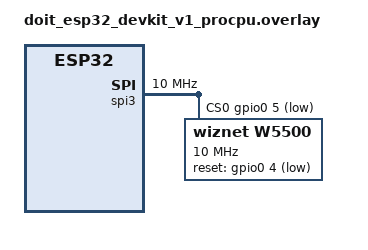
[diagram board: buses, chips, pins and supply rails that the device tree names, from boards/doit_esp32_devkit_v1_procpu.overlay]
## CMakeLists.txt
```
# SPDX-License-Identifier: Apache-2.0

cmake_minimum_required(VERSION 3.20.0)

find_package(Zephyr REQUIRED HINTS $ENV{ZEPHYR_BASE})
project(test_ethernet)

target_sources(app PRIVATE src/main.c)
```

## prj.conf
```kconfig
# NET
CONFIG_NETWORKING=y
CONFIG_NET_IPV4=y
CONFIG_NET_DHCPV4=y
CONFIG_NET_TCP=y
CONFIG_NET_SOCKETS=y
CONFIG_NET_HOSTNAME_ENABLE=y
CONFIG_NET_L2_ETHERNET=y
CONFIG_NET_L2_ETHERNET_MGMT=y
CONFIG_NET_IF_MAX_IPV4_COUNT=1

# DNS
CONFIG_DNS_RESOLVER=y
CONFIG_DNS_RESOLVER_ADDITIONAL_BUF_CTR=2
CONFIG_DNS_RESOLVER_ADDITIONAL_QUERIES=1
CONFIG_DNS_SERVER_IP_ADDRESSES=y
CONFIG_DNS_SERVER1="8.8.8.8"
CONFIG_DNS_SERVER2="8.8.4.4"

# POSIX
CONFIG_POSIX_API=y

# HTTP Client
CONFIG_HTTP_CLIENT=y
CONFIG_HTTP_PARSER=y
CONFIG_HTTP_PARSER_URL=y

# MQTT
CONFIG_MQTT_LIB=y

# Logging
CONFIG_LOG=y
CONFIG_LOG_DEFAULT_LEVEL=3
CONFIG_LOG_BACKEND_SHOW_COLOR=y
CONFIG_LOG_MODE_IMMEDIATE=y
CONFIG_LOG_BACKEND_UART=y

# Threads
CONFIG_MAIN_STACK_SIZE=2048
CONFIG_SYSTEM_WORKQUEUE_STACK_SIZE=2048

# Ethernet
CONFIG_ETH_DRIVER=y

# Random
CONFIG_ENTROPY_GENERATOR=y
CONFIG_TEST_RANDOM_GENERATOR=y
```

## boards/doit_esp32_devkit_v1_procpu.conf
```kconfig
# ESP32
CONFIG_ESP32_USE_UNSUPPORTED_REVISION=y

# NET
CONFIG_NET_HOSTNAME="doit_esp32_devkit_v1"
CONFIG_NET_MGMT_EVENT_STACK_SIZE=1500
CONFIG_NET_TCP_WORKQ_STACK_SIZE=2048

# SYSTEM
CONFIG_SYSTEM_WORKQUEUE_STACK_SIZE=1500
```

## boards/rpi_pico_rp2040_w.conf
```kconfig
CONFIG_NET_HOSTNAME="rpi_pico_rp2040_w"
```

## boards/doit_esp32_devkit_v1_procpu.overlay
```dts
/* doit_esp32_devkit_v1/esp32/procpu */

&spi3 {
	pinctrl-0 = <&spim3_default>;
	pinctrl-names = "default";
	clock-frequency = <DT_FREQ_M(10)>;
	cs-gpios = <&gpio0 5 GPIO_ACTIVE_LOW>;

	ethernet0: enc28j60@0 {
		compatible = "microchip,enc28j60";
		label = "enc28j60";
		reg = <0x0>;
		spi-max-frequency = <DT_FREQ_M(10)>;
		int-gpios = <&gpio0 21 (GPIO_PULL_UP | GPIO_ACTIVE_LOW)>;
		local-mac-address = [00 00 00 01 02 03];
		status = "disabled";
	};

	ethernet1: w5500@1 {
		compatible = "wiznet,w5500";
		label = "w5500";
		reg = <0x0>;
		spi-max-frequency = <DT_FREQ_M(10)>;
		// int-gpios = <&gpio0 21 (GPIO_PULL_UP | GPIO_ACTIVE_LOW)>;
		reset-gpios = <&gpio0 4 (GPIO_PULL_UP | GPIO_ACTIVE_LOW)>;
		local-mac-address = [00 00 00 01 02 03];
		status = "okay";
	};
};
```

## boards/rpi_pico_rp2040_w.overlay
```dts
/* rpi_pico/rp2040/w */

&spi0 {
    pinctrl-0 = <&spi0_default>;
	pinctrl-names = "default";
    clock-frequency = <DT_FREQ_M(10)>;
	cs-gpios = <&gpio0 17 GPIO_ACTIVE_LOW>;
    status = "okay";

    ethernet0: w5500@0 {
		compatible = "wiznet,w5500";
		label = "w5500";
		reg = <0x0>;
		spi-max-frequency = <DT_FREQ_M(10)>;
		int-gpios = <&gpio0 20 GPIO_ACTIVE_LOW>;
		reset-gpios = <&gpio0 21 GPIO_ACTIVE_LOW>;
		local-mac-address = [02 00 00 01 02 03];
		status = "okay";
	};

	ethernet1: enc28j60@1 {
		compatible = "microchip,enc28j60";
		label = "enc28j60";
		reg = <0x0>;
		spi-max-frequency = <DT_FREQ_M(10)>;
		int-gpios = <&gpio0 20 GPIO_ACTIVE_LOW>;
		local-mac-address = [02 00 00 01 02 03];
		status = "disabled";
	};
};
```

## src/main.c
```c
/*
 * Zephyr Ethernet Stress Test
 *
 * Performs HTTP GET requests and MQTT operations (publish/subscribe)
 * in separate threads to stress the Ethernet connection.
 *
 * SPDX-License-Identifier: Apache-2.0
 */

#include <zephyr/kernel.h>
#include <zephyr/logging/log.h>
#include <zephyr/posix/poll.h>
#include <zephyr/net/net_if.h>
#include <zephyr/net/net_mgmt.h>
#include <zephyr/net/ethernet_mgmt.h>
#include <zephyr/net/net_event.h>
#include <zephyr/net/dhcpv4.h>
#include <zephyr/net/socket.h>
#include <zephyr/net/http/client.h>
#include <zephyr/net/mqtt.h>
#include <zephyr/net/net_ip.h>
#include <zephyr/random/random.h>
#include <zephyr/drivers/hwinfo.h>
#include <string.h>
#include <errno.h>

LOG_MODULE_REGISTER(eth_stress, LOG_LEVEL_INF);

/* ========================================================================== */
/*  Configuration                                                             */
/* ========================================================================== */

/* Target HTTP server (e.g., a local or public web server) */
#define HTTP_SERVER_HOST   "viacep.com.br"   /* Replace with the HTTP server IP */
#define HTTP_SERVER_PORT   80
#define HTTP_PATH          "/ws/01001000/json/"

/* MQTT broker */
#define MQTT_BROKER_HOST   "broker.emqx.io"   /* Replace with the MQTT broker IP */
#define MQTT_BROKER_PORT   1883
#define MQTT_TOPIC_SUB     "stress/test"
#define MQTT_TOPIC_PUB     "stress/data"
#define MQTT_PUB_INTERVAL  1000   /* ms between publishes */
#define MQTT_SUB_INTERVAL  2000   /* ms between message checks */

/* Interval between HTTP requests (ms) */
#define HTTP_INTERVAL      3000

/* Buffer sizes */
#define HTTP_RECV_BUF_SIZE 512
#define MQTT_RX_BUF_SIZE   4096
#define MQTT_TX_BUF_SIZE   512
#define MQTT_MSGQ_DEPTH     8

enum mqtt_internal_evt {
    MQTT_INTERNAL_EVT_PUBLISH,
    MQTT_INTERNAL_EVT_PUBREC,
    MQTT_INTERNAL_EVT_LEN,
};

struct mqtt_internal_msg {
    enum mqtt_internal_evt type;
    struct mqtt_evt evt;
};

/* ========================================================================== */
/*  Global Variables                                                          */
/* ========================================================================== */

static K_SEM_DEFINE(net_ready, 0, 1);
static K_MUTEX_DEFINE(mqtt_mutex);
static struct net_mgmt_event_callback net_mgmt_cb;
static struct net_mgmt_event_callback ethernet_mgmt_cb;

static struct mqtt_client mqtt_client;
static struct sockaddr_storage mqtt_broker;
static uint8_t mqtt_rx_buffer[MQTT_RX_BUF_SIZE];
static uint8_t mqtt_tx_buffer[MQTT_TX_BUF_SIZE];
static bool mqtt_connected = false;
static char mqtt_client_id[64];
static struct mqtt_internal_msg mqtt_msgq_buf[MQTT_MSGQ_DEPTH];
static struct k_msgq mqtt_msgq;
static uint8_t mqtt_discard_buf[128];

/* ========================================================================== */
/*  Network event callback                                                    */
/* ========================================================================== */

static void net_event_handler(struct net_mgmt_event_callback *cb,
                              uint64_t mgmt_event,
                              struct net_if *iface)
{
    switch (mgmt_event) {
        case NET_EVENT_IPV4_ADDR_ADD:
            char addr_str[NET_IPV4_ADDR_LEN];
            const struct in_addr *addr =
                &iface->config.ip.ipv4->unicast[0].ipv4.address.in_addr;

            net_addr_ntop(NET_AF_INET, addr, addr_str, sizeof(addr_str));
            LOG_INF("IPv4 address obtained: %s", addr_str);

            k_sem_reset(&net_ready);
        break;

        case NET_EVENT_IPV4_ADDR_DEL:
            net_dhcpv4_restart(iface);
        break;

        default:
        break;
    }
}

static void ethernet_event_handler(struct net_mgmt_event_callback *cb,
                              uint64_t mgmt_event,
                              struct net_if *iface)
{
    switch (mgmt_event) {
        case NET_EVENT_ETHERNET_CARRIER_ON:
            LOG_INF("Ethernet carrier ON (cable connected)");

            net_dhcpv4_restart(iface);
        break;

        case NET_EVENT_ETHERNET_CARRIER_OFF:
            LOG_WRN("Ethernet carrier OFF (cable disconnected)");
        break;
    }
}

static int http_response_cb(struct http_response *rsp,
                            enum http_final_call final_data,
                            void *user_data)
{
    ARG_UNUSED(user_data);

    if (final_data == HTTP_DATA_MORE) {
        LOG_INF("HTTP: partial data received (%zd bytes)", rsp->data_len);
    } else if (final_data == HTTP_DATA_FINAL) {
        LOG_INF(
            "HTTP: full response (%zd bytes), status: %s",
            rsp->data_len, rsp->http_status
        );
    }

    /* Optional: print the response body */
    if (rsp->body_frag_start != NULL && rsp->body_frag_len > 0) {
        LOG_INF(
            "HTTP: body: %.*s",
            rsp->body_frag_len, rsp->body_frag_start
        );
    }

    return 0;
}

/* ========================================================================== */
/*  HTTP Thread                                                               */
/* ========================================================================== */

static int http_get_once(void)
{
    int ret;
    int sock;
    struct sockaddr_in addr;
    uint8_t recv_buf[HTTP_RECV_BUF_SIZE];
    struct http_request req = { 0 };

    /* Create TCP socket */
    sock = zsock_socket(AF_INET, SOCK_STREAM, IPPROTO_TCP);
    if (sock < 0) {
        LOG_ERR("HTTP: failed to create socket (%d)", -errno);
        return -errno;
    }

    /* Fill in the server address */
    struct zsock_addrinfo hints = {
        .ai_family   = AF_INET,
        .ai_socktype = SOCK_STREAM,
        .ai_protocol = IPPROTO_TCP,
    };
    struct zsock_addrinfo *res = NULL;
    char port_str[6];
    snprintk(port_str, sizeof(port_str), "%d", HTTP_SERVER_PORT);

    ret = zsock_getaddrinfo(HTTP_SERVER_HOST, port_str, &hints, &res);
    if (ret != 0 || res == NULL) {
        LOG_ERR("HTTP: failed to resolve '%s' (%d)", HTTP_SERVER_HOST, ret);
        zsock_close(sock);
        return -EHOSTUNREACH;
    }

    /* Copy the resolved address */
    memcpy(&addr, res->ai_addr, sizeof(addr));
    zsock_freeaddrinfo(res);

    /* Connect */
    ret = zsock_connect(sock, (struct sockaddr *)&addr, sizeof(addr));
    if (ret < 0) {
        LOG_ERR("HTTP: connection failed (%d)", -errno);
        zsock_close(sock);
        return -errno;
    }

    /* Prepare the GET request */
    req.method = HTTP_GET;
    req.url = HTTP_PATH;
    req.host = HTTP_SERVER_HOST;
    req.protocol = "HTTP/1.1";
    req.recv_buf = recv_buf;
    req.recv_buf_len = sizeof(recv_buf);
    req.response = http_response_cb;

    /* Execute the request */
    ret = http_client_req(sock, &req, 5000, NULL);
    if (ret < 0) {
        LOG_ERR("HTTP: request failed (%d)", ret);
    } else {
        LOG_INF("HTTP: GET %s%s -> OK", HTTP_SERVER_HOST, HTTP_PATH);
    }

    zsock_close(sock);
    return ret;
}

void http_thread(void *p1, void *p2, void *p3)
{
    ARG_UNUSED(p1);
    ARG_UNUSED(p2);
    ARG_UNUSED(p3);

    /* Wait for the network to be ready */
    k_sem_take(&net_ready, K_FOREVER);
    LOG_INF("HTTP: thread started");

    while (1) {
        http_get_once();
        k_sleep(K_MSEC(HTTP_INTERVAL));
    }
}

K_THREAD_DEFINE(
    http_tid, 4096,
    http_thread, NULL, NULL, NULL,
    5, 0, 0
);

/* ========================================================================== */
/*  MQTT Thread                                                               */
/* ========================================================================== */

static void mqtt_work_publish(struct mqtt_client *client,
                              const struct mqtt_evt *evt)
{
    uint32_t len = evt->param.publish.message.payload.len;

    LOG_INF(
        "MQTT: message on '%.*s' (%u bytes)",
        evt->param.publish.message.topic.topic.size,
        evt->param.publish.message.topic.topic.utf8,
        len
    );

    uint32_t remaining = len;
    while (remaining > 0) {
        int n = mqtt_read_publish_payload(client, mqtt_discard_buf,
                                          MIN(sizeof(mqtt_discard_buf),
                                              remaining));
        if (n == -EAGAIN) {
            k_yield();
            continue;
        }
        if (n <= 0) {
            LOG_ERR("MQTT: payload read failed (%d)", n);
            mqtt_abort(client);
            mqtt_connected = false;
            return;
        }
        remaining -= n;
    }

    if (evt->param.publish.message.topic.qos == MQTT_QOS_1_AT_LEAST_ONCE) {
        struct mqtt_puback_param puback = {
            .message_id = evt->param.publish.message_id,
        };
        (void)mqtt_publish_qos1_ack(client, &puback);
    }
}

static void mqtt_work_pubrec(struct mqtt_client *client,
                             const struct mqtt_evt *evt)
{
    struct mqtt_pubrel_param rel = {
        .message_id = evt->param.pubrec.message_id,
    };
    int err = mqtt_publish_qos2_release(client, &rel);
    if (err != 0) {
        LOG_ERR("MQTT: PUBREL failed (%d)", err);
    }
}

static void (*const mqtt_work_handlers[MQTT_INTERNAL_EVT_LEN])(
    struct mqtt_client *, const struct mqtt_evt *) = {
    [MQTT_INTERNAL_EVT_PUBLISH] = mqtt_work_publish,
    [MQTT_INTERNAL_EVT_PUBREC]  = mqtt_work_pubrec,
};

static void build_client_id(char *buff_client_id, size_t buff_len)
{
    uint8_t id[16];
    ssize_t len = hwinfo_get_device_id(id, sizeof(id));
    size_t i = 0;

    const char *prefix = "zephyr_stress_";
    while (*prefix && i < buff_len - 1) {
        buff_client_id[i++] = *prefix++;
    }

    for (ssize_t k = 0; k < len && i < buff_len - 3; k++) {
        i += snprintk(&buff_client_id[i],
                      buff_len - i, "%02X", id[k]);
    }
    buff_client_id[i] = '\0';
}

static void mqtt_evt_handler(struct mqtt_client *const client,
                             const struct mqtt_evt *evt)
{
    struct mqtt_internal_msg msg;

    switch (evt->type) {
        case MQTT_EVT_CONNACK:
            if (evt->result != 0) {
                LOG_ERR("MQTT: CONNACK error %d", evt->result);
                return;
            }
            LOG_INF("MQTT: connected to broker");
            mqtt_connected = true;

            /* Subscribe to the topic */
            struct mqtt_topic sub_topic = {
                .topic.utf8 = MQTT_TOPIC_SUB,
                .topic.size = strlen(MQTT_TOPIC_SUB),
            };
            struct mqtt_subscription_list sub_list = {
                .list = &sub_topic,
                .list_count = 1,
                .message_id = 1,
            };
            int rc = mqtt_subscribe(client, &sub_list);
            if (rc != 0) {
                LOG_ERR("MQTT: subscribe failed (%d)", rc);
            } else {
                LOG_INF("MQTT: subscribed to '%s'", MQTT_TOPIC_SUB);
            }
        break;

        case MQTT_EVT_PUBLISH:
            msg.type = MQTT_INTERNAL_EVT_PUBLISH;
            memcpy(&msg.evt, evt, sizeof(struct mqtt_evt));
            if (k_msgq_put(&mqtt_msgq, &msg, K_NO_WAIT) != 0) {
                LOG_WRN("MQTT: msgq full, dropping PUBLISH");
            }
        break;

        case MQTT_EVT_PUBREC:
            msg.type = MQTT_INTERNAL_EVT_PUBREC;
            memcpy(&msg.evt, evt, sizeof(struct mqtt_evt));
            if (k_msgq_put(&mqtt_msgq, &msg, K_NO_WAIT) != 0) {
                LOG_WRN("MQTT: msgq full, dropping PUBREC");
            }
        break;

        case MQTT_EVT_PUBACK:
            LOG_DBG("MQTT: PUBACK id=%u", evt->param.puback.message_id);
        break;

        case MQTT_EVT_PUBCOMP:
            LOG_DBG("MQTT: PUBCOMP id=%u", evt->param.pubcomp.message_id);
        break;

        case MQTT_EVT_SUBACK:
            LOG_INF("MQTT: SUBACK id=%u result=%d",
                    evt->param.suback.message_id, evt->result);
        break;

        case MQTT_EVT_DISCONNECT:
            LOG_WRN("MQTT: disconnected (%d)", evt->result);
            mqtt_connected = false;

            struct mqtt_internal_msg drop;
            while (k_msgq_get(&mqtt_msgq, &drop, K_NO_WAIT) == 0) {
            }
        break;

        case MQTT_EVT_PINGRESP:
            LOG_DBG("MQTT: PINGRESP");
        break;

        default:
            LOG_DBG("MQTT: unhandled evt %d", evt->type);
        break;
    }
}

static int mqtt_connect_broker(void)
{
    int ret = 0;

    k_mutex_lock(&mqtt_mutex, K_FOREVER);

    if (mqtt_connected) {
        goto end;
    }

    struct zsock_addrinfo hints = {
        .ai_family   = AF_INET,
        .ai_socktype = SOCK_STREAM,
        .ai_protocol = IPPROTO_TCP,
    };
    struct zsock_addrinfo *res = NULL;
    char port_str[6];

    /* Resolve broker hostname via DNS */
    snprintk(port_str, sizeof(port_str), "%d", MQTT_BROKER_PORT);

    ret = zsock_getaddrinfo(MQTT_BROKER_HOST, port_str, &hints, &res);
    if (ret != 0 || res == NULL) {
        LOG_ERR("MQTT: failed to resolve '%s' (%d)", MQTT_BROKER_HOST, ret);
        ret = -EHOSTUNREACH;
        goto end;
    }

    /* Copy the resolved address into the global sockaddr_storage */
    memset(&mqtt_broker, 0, sizeof(mqtt_broker));
    memcpy(&mqtt_broker, res->ai_addr, res->ai_addrlen);
    zsock_freeaddrinfo(res);

    build_client_id(mqtt_client_id, sizeof(mqtt_client_id));

    /* Initialize the MQTT client */
    mqtt_client_init(&mqtt_client);
    mqtt_client.evt_cb         = mqtt_evt_handler;
    mqtt_client.client_id.utf8 = mqtt_client_id;
    mqtt_client.client_id.size = strlen(mqtt_client_id);
    mqtt_client.rx_buf         = mqtt_rx_buffer;
    mqtt_client.rx_buf_size    = sizeof(mqtt_rx_buffer);
    mqtt_client.tx_buf         = mqtt_tx_buffer;
    mqtt_client.tx_buf_size    = sizeof(mqtt_tx_buffer);
    mqtt_client.transport.type = MQTT_TRANSPORT_NON_SECURE;
    mqtt_client.broker         = (struct sockaddr *)&mqtt_broker;

    /* Connect */
    ret = mqtt_connect(&mqtt_client);
    if (ret != 0) {
        LOG_ERR("MQTT: connection failed (%d)", ret);
        goto end;
    }

    struct pollfd fds[1] = {
        [0] = {
            .fd = mqtt_client.transport.tcp.sock,
            .events = ZSOCK_POLLIN,
        }
    };

    int poll_ret = zsock_poll(fds, 1, 5000);
    if (poll_ret <= 0) {
        LOG_ERR("MQTT: CONNACK timeout (%d)", poll_ret);
        mqtt_abort(&mqtt_client);
        ret = -ETIMEDOUT;
        goto end;
    }

    ret = mqtt_input(&mqtt_client);
    if (ret != 0 && ret != -EAGAIN) {
        LOG_ERR("MQTT: mqtt_input failed (%d)", ret);
        mqtt_abort(&mqtt_client);
        goto end;
    }

    if (!mqtt_connected) {
        LOG_ERR("MQTT: not connected after CONNACK");
        mqtt_abort(&mqtt_client);
        ret = -EIO;
        goto end;
    }

    LOG_INF("MQTT: resolved '%s' -> connected", MQTT_BROKER_HOST);

    end:
    k_mutex_unlock(&mqtt_mutex);
    return ret;
}


static void mqtt_rx_thread(void *p1, void *p2, void *p3)
{
    ARG_UNUSED(p1);
    ARG_UNUSED(p2);
    ARG_UNUSED(p3);

    k_sem_take(&net_ready, K_FOREVER);
    LOG_INF("MQTT RX: thread started");

    while (1) {
        /* If disconnected, connects (synchronous call, returns only upon CONNACK) */
        if (!mqtt_connected) {
            if (mqtt_connect_broker() != 0) {
                LOG_WRN("MQTT RX: retrying in 5s...");
                k_sleep(K_SECONDS(5));
                continue;
            }
            LOG_INF("MQTT RX: session established");
        }

        /* Capture socket and timeout under the mutex */
        k_mutex_lock(&mqtt_mutex, K_FOREVER);

        if (!mqtt_connected) {
            k_mutex_unlock(&mqtt_mutex);
            continue;
        }

        int sock = mqtt_client.transport.tcp.sock;
        int timeout = mqtt_keepalive_time_left(&mqtt_client);
        if (timeout < 0) {
            timeout = 0;
        }
        if (timeout > 200) {
            timeout = 200;  /* Cap to react quickly to external events */
        }

        k_mutex_unlock(&mqtt_mutex);

        struct pollfd fds[1] = {
            [0] = {
                .fd = sock,
                .events = ZSOCK_POLLIN,
            }
        };

        int poll_ret = zsock_poll(fds, 1, timeout);

        if (poll_ret < 0) {
            LOG_ERR("MQTT RX: poll error (%d)", -errno);
            k_mutex_lock(&mqtt_mutex, K_FOREVER);
            mqtt_connected = false;
            k_mutex_unlock(&mqtt_mutex);
            continue;
        }

        /* Only process if something arrived. If the timeout expired, go back to the loop. */
        if (poll_ret == 0 || !(fds[0].revents & ZSOCK_POLLIN)) {
            continue;
        }

        k_mutex_lock(&mqtt_mutex, K_FOREVER);

        if (mqtt_connected) {
            int rc = mqtt_input(&mqtt_client);
            if (rc != 0 && rc != -EAGAIN) {
                LOG_ERR("MQTT RX: mqtt_input error (%d)", rc);
                mqtt_connected = false;
            } else {
                /* Drain events queued by the callback.
                 * Must run here because mqtt_read_publish_payload()
                 * can only be called from the same thread as mqtt_input(). 
                 */
                struct mqtt_internal_msg msg;
                while (k_msgq_get(&mqtt_msgq, &msg, K_NO_WAIT) == 0) {
                    mqtt_work_handlers[msg.type](&mqtt_client, &msg.evt);
                }
            }
        }

        k_mutex_unlock(&mqtt_mutex);
    }
}

K_THREAD_DEFINE(
    mqtt_rx_tid, 4096,
    mqtt_rx_thread, NULL, NULL, NULL,
    5, 0, 0
);

static void mqtt_tx_thread(void *p1, void *p2, void *p3)
{
    ARG_UNUSED(p1);
    ARG_UNUSED(p2);
    ARG_UNUSED(p3);

    k_sem_take(&net_ready, K_FOREVER);
    LOG_INF("MQTT TX: thread started");

    while (1) {
        k_mutex_lock(&mqtt_mutex, K_FOREVER);

        if (mqtt_connected) {
            /* Sends PINGREQ, pending PUBACKs, retransmissions */
            int lrc = mqtt_live(&mqtt_client);
            if (lrc != 0 && lrc != -EAGAIN) {
                LOG_ERR("MQTT TX: mqtt_live error (%d)", lrc);
                mqtt_connected = false;
                k_mutex_unlock(&mqtt_mutex);
                k_sleep(K_SECONDS(1));
                continue;
            }

            char payload[64];
            snprintk(payload, sizeof(payload),
                     "stress-%u", sys_rand32_get() % 10000);

            struct mqtt_publish_param pub = {
                .message.topic = {
                    .topic.utf8 = MQTT_TOPIC_PUB,
                    .topic.size = strlen(MQTT_TOPIC_PUB),
                },
                .message.payload.data = (uint8_t *)payload,
                .message.payload.len  = strlen(payload),
                .message.topic.qos    = MQTT_QOS_1_AT_LEAST_ONCE,
                .message_id           = sys_rand32_get() % 65535,
                .retain_flag          = 0,
            };

            int prc = mqtt_publish(&mqtt_client, &pub);
            if (prc == 0) {
                LOG_INF("MQTT TX: published '%s'", payload);
            } else {
                LOG_ERR("MQTT TX: publish failed (%d)", prc);
            }
        }

        k_mutex_unlock(&mqtt_mutex);

        k_sleep(K_MSEC(MQTT_PUB_INTERVAL));
    }
}

K_THREAD_DEFINE(
    mqtt_tx_tid, 4096,
    mqtt_tx_thread, NULL, NULL, NULL,
    5, 0, 0
);

/* ========================================================================== */
/*  Main Thread                                                               */
/* ========================================================================== */

int main(void)
{
    struct net_if *iface;

    LOG_INF("=== Zephyr Ethernet Stress Test ===");
    LOG_INF("CONFIG_BOARD: %s", CONFIG_BOARD);
    LOG_INF("CONFIG_BOARD_TARGET: %s", CONFIG_BOARD_TARGET);

    k_msgq_init(&mqtt_msgq, (char *)mqtt_msgq_buf,
            sizeof(struct mqtt_internal_msg), MQTT_MSGQ_DEPTH);

    /* Get the default network interface */
    iface = net_if_get_default();
    if (iface == NULL) {
        LOG_ERR("No network interface found");
        return -ENODEV;
    }

    /* Register the network event callback */
    net_mgmt_init_event_callback(
        &net_mgmt_cb,
        net_event_handler,
        NET_EVENT_IPV4_ADDR_ADD |
        NET_EVENT_IPV4_ADDR_DEL
    );
    net_mgmt_add_event_callback(&net_mgmt_cb);

    net_mgmt_init_event_callback(
        &ethernet_mgmt_cb,
        ethernet_event_handler,
        NET_EVENT_ETHERNET_CARRIER_ON |
        NET_EVENT_ETHERNET_CARRIER_OFF
    );
    net_mgmt_add_event_callback(&ethernet_mgmt_cb);

    /* Start the DHCP client */
    LOG_INF("Starting DHCP...");
    net_dhcpv4_start(iface);

    LOG_INF("Waiting for an IP address...");
    /* Threads were already created and are waiting on the semaphore */

    /* Keep main alive */
    while (1) {
        k_sleep(K_SECONDS(1000));
        LOG_INF("--- Heartbeat ---");
    }

    return 0;
}
```
